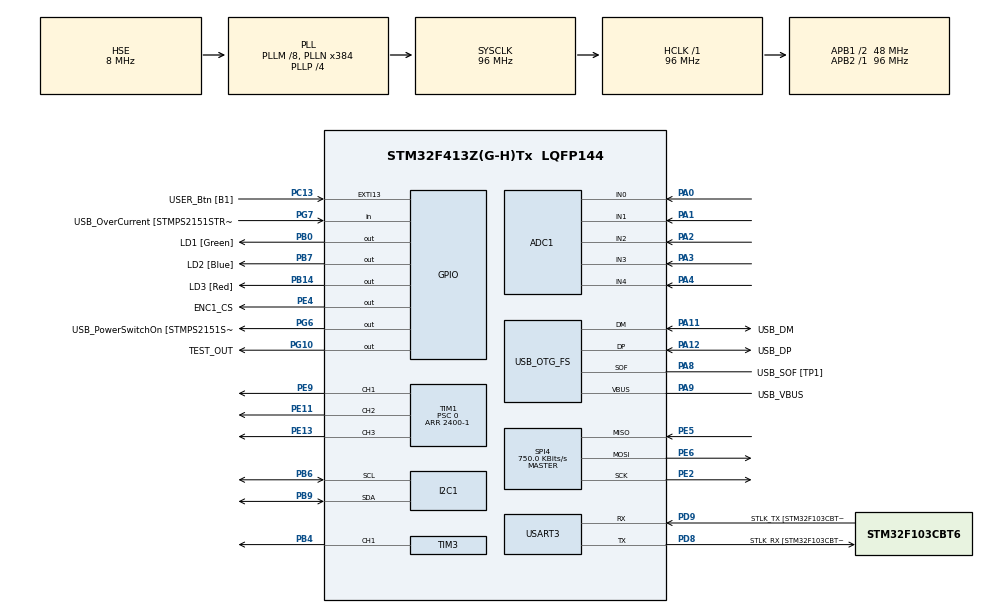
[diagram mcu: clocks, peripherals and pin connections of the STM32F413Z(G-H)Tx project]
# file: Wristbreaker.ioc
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ADC1.Channel-0\#ChannelRegularConversion=ADC_CHANNEL_0
ADC1.Channel-1\#ChannelRegularConversion=ADC_CHANNEL_1
ADC1.Channel-2\#ChannelRegularConversion=ADC_CHANNEL_2
ADC1.Channel-3\#ChannelRegularConversion=ADC_CHANNEL_3
ADC1.Channel-4\#ChannelRegularConversion=ADC_CHANNEL_4
ADC1.ContinuousConvMode=DISABLE
ADC1.DMAContinuousRequests=DISABLE
ADC1.DiscontinuousConvMode=DISABLE
ADC1.EOCSelection=ADC_EOC_SEQ_CONV
ADC1.NbrOfConversion=5
ADC1.NbrOfConversionFlag=1
ADC1.Rank-0\#ChannelRegularConversion=1
ADC1.Rank-1\#ChannelRegularConversion=2
ADC1.Rank-2\#ChannelRegularConversion=3
ADC1.Rank-3\#ChannelRegularConversion=4
ADC1.Rank-4\#ChannelRegularConversion=5
ADC1.SamplingTime-0\#ChannelRegularConversion=ADC_SAMPLETIME_15CYCLES
ADC1.SamplingTime-1\#ChannelRegularConversion=ADC_SAMPLETIME_15CYCLES
ADC1.SamplingTime-2\#ChannelRegularConversion=ADC_SAMPLETIME_15CYCLES
ADC1.SamplingTime-3\#ChannelRegularConversion=ADC_SAMPLETIME_15CYCLES
ADC1.SamplingTime-4\#ChannelRegularConversion=ADC_SAMPLETIME_15CYCLES
ADC1.ScanConvMode=ENABLE
ADC1.master=1
Dma.ADC1.0.Direction=DMA_PERIPH_TO_MEMORY
Dma.ADC1.0.FIFOMode=DMA_FIFOMODE_DISABLE
Dma.ADC1.0.Instance=DMA2_Stream0
Dma.ADC1.0.MemDataAlignment=DMA_MDATAALIGN_HALFWORD
Dma.ADC1.0.MemInc=DMA_MINC_ENABLE
Dma.ADC1.0.Mode=DMA_NORMAL
Dma.ADC1.0.PeriphDataAlignment=DMA_PDATAALIGN_HALFWORD
Dma.ADC1.0.PeriphInc=DMA_PINC_DISABLE
Dma.ADC1.0.Priority=DMA_PRIORITY_LOW
Dma.Request0=ADC1
I2C1.I2C_Mode=I2C_Fast
Mcu.Family=STM32F4
Mcu.Name=STM32F413Z(G-H)Tx
Mcu.Package=LQFP144
Mcu.UserConstants=CUSTOM_HID_EPIN_SIZE,64;CUSTOM_HID_EPOUT_SIZE,64
NVIC.DMA2_Stream0_IRQn=true\:0\:0\:false\:false\:true\:false\:true\:true
NVIC.I2C1_ER_IRQn=true\:1\:0\:true\:false\:true\:true\:true\:true
NVIC.I2C1_EV_IRQn=true\:5\:0\:true\:false\:true\:true\:true\:true
NVIC.OTG_FS_IRQn=true\:0\:0\:true\:false\:true\:false\:true\:true
NVIC.PriorityGroup=NVIC_PRIORITYGROUP_4
NVIC.SPI4_IRQn=true\:6\:0\:true\:false\:true\:true\:true\:true
PA0.Signal=ADCx_IN0
PA1.Signal=ADCx_IN1
PA10.GPIO_Label=USB_ID
PA10.Signal=USB_OTG_FS_ID
PA11.GPIO_Label=USB_DM
PA11.Mode=Device_Only
PA11.Signal=USB_OTG_FS_DM
PA12.GPIO_Label=USB_DP
PA12.Mode=Device_Only
PA12.Signal=USB_OTG_FS_DP
PA13.GPIO_Label=TMS
PA13.Mode=Serial_Wire
PA13.Signal=SYS_JTMS-SWDIO
PA14.GPIO_Label=TCK
PA14.Mode=Serial_Wire
PA14.Signal=SYS_JTCK-SWCLK
PA2.Signal=ADCx_IN2
PA3.Signal=ADCx_IN3
PA4.Signal=ADCx_IN4
PA8.GPIO_Label=USB_SOF [TP1]
PA8.Mode=Activate_SOF_FS
PA8.Signal=USB_OTG_FS_SOF
PA9.GPIO_Label=USB_VBUS
PA9.Mode=Activate_VBUS
PA9.Signal=USB_OTG_FS_VBUS
PB0.GPIO_Label=LD1 [Green]
PB0.Signal=GPIO_Output
PB14.GPIO_Label=LD3 [Red]
PB14.Signal=GPIO_Output
PB3.GPIO_Label=SWO
PB3.Signal=SYS_JTDO-SWO
PB4.Signal=S_TIM3_CH1
PB6.Mode=I2C
PB6.Signal=I2C1_SCL
PB7.GPIO_Label=LD2 [Blue]
PB7.Signal=GPIO_Output
PB9.Mode=I2C
PB9.Signal=I2C1_SDA
PC13.GPIO_Label=USER_Btn [B1]
PC13.Signal=GPXTI13
PC14-OSC32_IN.Signal=RCC_OSC32_IN
PC15-OSC32_OUT.Signal=RCC_OSC32_OUT
PD8.GPIO_Label=STLK_RX [STM32F103CBT6_PA3]
PD8.Mode=Asynchronous
PD8.Signal=USART3_TX
PD9.GPIO_Label=STLK_TX [STM32F103CBT6_PA2]
PD9.Mode=Asynchronous
PD9.Signal=USART3_RX
PE11.Signal=S_TIM1_CH2
PE13.Signal=S_TIM1_CH3
PE2.GPIO_PuPd=GPIO_PULLDOWN
PE2.Mode=Full_Duplex_Master
PE2.Signal=SPI4_SCK
PE4.GPIO_Label=ENC1_CS
PE4.GPIO_Speed=GPIO_SPEED_FREQ_MEDIUM
PE4.PinState=GPIO_PIN_SET
PE4.Signal=GPIO_Output
PE5.Mode=Full_Duplex_Master
PE5.Signal=SPI4_MISO
PE6.Mode=Full_Duplex_Master
PE6.Signal=SPI4_MOSI
PE9.Signal=S_TIM1_CH1
PG10.GPIO_Label=TEST_OUT
PG10.Signal=GPIO_Output
PG6.GPIO_Label=USB_PowerSwitchOn [STMPS2151STR_EN]
PG6.Signal=GPIO_Output
PG7.GPIO_Label=USB_OverCurrent [STMPS2151STR_FAULT]
PG7.Signal=GPIO_Input
PH0\ -\ OSC_IN.GPIO_Label=MCO
PH0\ -\ OSC_IN.Mode=HSE-External-Clock-Source
PH0\ -\ OSC_IN.Signal=RCC_OSC_IN
PH1\ -\ OSC_OUT.Mode=HSE-External-Clock-Source
PH1\ -\ OSC_OUT.Signal=RCC_OSC_OUT
ProjectManager.HeapSize=0x200
ProjectManager.StackSize=0x400
ProjectManager.TargetToolchain=STM32CubeIDE
RCC.48MHZClocksFreq_Value=24000000
RCC.AHBFreq_Value=96000000
RCC.APB1CLKDivider=RCC_HCLK_DIV2
RCC.APB1Freq_Value=48000000
RCC.APB1TimFreq_Value=96000000
RCC.APB2Freq_Value=96000000
RCC.APB2TimFreq_Value=96000000
RCC.CortexFreq_Value=96000000
RCC.HCLKFreq_Value=96000000
RCC.HSE_VALUE=8000000
RCC.HSI_VALUE=16000000
RCC.PLLM=8
RCC.PLLMUL=RCC_PLL_MUL9
RCC.PLLN=384
RCC.PLLP=RCC_PLLP_DIV4
RCC.PLLQ=8
RCC.PRESCALERUSB=RCC_USBCLKSOURCE_PLL_DIV1_5
RCC.SYSCLKFreq_VALUE=96000000
RCC.SYSCLKSource=RCC_SYSCLKSOURCE_PLLCLK
RCC.SYSCLKSourceVirtual=RCC_SYSCLKSOURCE_PLLCLK
RCC.USBFreq_Value=48000000
RCC.VCOOutputFreq_Value=384000000
SH.ADCx_IN0.0=ADC1_IN0,IN0
SH.ADCx_IN1.0=ADC1_IN1,IN1
SH.ADCx_IN2.0=ADC1_IN2,IN2
SH.ADCx_IN3.0=ADC1_IN3,IN3
SH.ADCx_IN4.0=ADC1_IN4,IN4
SH.S_TIM1_CH1.0=TIM1_CH1,PWM Generation1 CH1
SH.S_TIM1_CH2.0=TIM1_CH2,PWM Generation2 CH2
SH.S_TIM1_CH3.0=TIM1_CH3,PWM Generation3 CH3
SH.S_TIM3_CH1.0=TIM3_CH1,PWM Generation1 CH1
SPI4.BaudRatePrescaler=SPI_BAUDRATEPRESCALER_128
SPI4.CLKPhase=SPI_PHASE_2EDGE
SPI4.CalculateBaudRate=750.0 KBits/s
SPI4.DataSize=SPI_DATASIZE_16BIT
SPI4.Direction=SPI_DIRECTION_2LINES
SPI4.Mode=SPI_MODE_MASTER
SPI4.VirtualType=VM_MASTER
TIM1.AutoReloadPreload=TIM_AUTORELOAD_PRELOAD_DISABLE
TIM1.Channel-PWM\ Generation1\ CH1=TIM_CHANNEL_1
TIM1.Channel-PWM\ Generation2\ CH2=TIM_CHANNEL_2
TIM1.Channel-PWM\ Generation3\ CH3=TIM_CHANNEL_3
TIM1.CounterMode=TIM_COUNTERMODE_CENTERALIGNED1
TIM1.OCMode_PWM-PWM\ Generation2\ CH2=TIM_OCMODE_PWM1
TIM1.OCPolarity_3=TIM_OCPOLARITY_HIGH
TIM1.Period=2400-1
TIM1.Prescaler=0
TIM1.Pulse-PWM\ Generation1\ CH1=0
TIM1.Pulse-PWM\ Generation2\ CH2=0
TIM1.Pulse-PWM\ Generation3\ CH3=1000
TIM3.Channel-PWM\ Generation1\ CH1=TIM_CHANNEL_1
TIM3.Prescaler=4
TIM3.Pulse-PWM\ Generation1\ CH1=28800
TIM5.Prescaler=95
USART3.VirtualMode=VM_ASYNC
USB_DEVICE.CLASS_NAME_FS=CUSTOM_HID
USB_DEVICE.CONFIGURATION_STRING_CUSTOMHID_FS=Force feedback yoke
USB_DEVICE.CUSTOM_HID_FS_BINTERVAL=0x01
USB_DEVICE.PID_CUSTOMHID_FS=0x5712
USB_DEVICE.PRODUCT_STRING_CUSTOMHID_FS=Wristbreaker
USB_DEVICE.USBD_CUSTOMHID_OUTREPORT_BUF_SIZE=64
USB_DEVICE.USBD_CUSTOM_HID_REPORT_DESC_SIZE=126
USB_DEVICE.USBD_MAX_NUM_INTERFACES=1
USB_DEVICE.USBD_SELF_POWERED=1
USB_DEVICE.VID=0x0483
USB_DEVICE.VirtualMode=CustomHid
USB_DEVICE.VirtualModeFS=Custom_Hid_FS
USB_OTG_FS.VirtualMode=Device_Only
USB_OTG_FS.battery_charging_enable=DISABLE
VP_TIM1_VS_ClockSourceINT.Mode=Internal
VP_TIM3_VS_ClockSourceINT.Mode=Internal
VP_TIM5_VS_ClockSourceINT.Mode=Internal
VP_USB_DEVICE_VS_USB_DEVICE_CUSTOM_HID_FS.Mode=CUSTOM_HID_FS
board=NUCLEO-F413ZH

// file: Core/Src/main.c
/* USER CODE BEGIN Header */
/**
  ******************************************************************************
  * @file           : main.c
  * @brief          : Wristbreaker main program body
  ******************************************************************************
  * @attention
  *
  * Copyright (c) 2022 STMicroelectronics.
  * All rights reserved.
  *
  * This software is licensed under terms that can be found in the LICENSE file
  * in the root directory of this software component.
  * If no LICENSE file comes with this software, it is provided AS-IS.
  *
  ******************************************************************************
  */
/* USER CODE END Header */
#include "main.h"
#include "usb_device.h"

/* USER CODE BEGIN Includes */
#include "main_loop_api.h"
#include "stdio_redirection.h"
/* USER CODE END Includes */

 ADC_HandleTypeDef hadc1;
DMA_HandleTypeDef hdma_adc1;

I2C_HandleTypeDef hi2c1;

SPI_HandleTypeDef hspi4;

TIM_HandleTypeDef htim1;
TIM_HandleTypeDef htim3;
TIM_HandleTypeDef htim5;

UART_HandleTypeDef huart3;

void SystemClock_Config(void);
static void MX_GPIO_Init(void);
static void MX_USART3_UART_Init(void);
static void MX_DMA_Init(void);
static void MX_ADC1_Init(void);
static void MX_TIM5_Init(void);
static void MX_SPI4_Init(void);
static void MX_TIM1_Init(void);
static void MX_I2C1_Init(void);
static void MX_TIM3_Init(void);

int main(void)
{
  /* USER CODE BEGIN 1 */
    pTimerHtim = &htim5;    /*htim5 used by Timer class*/
    pMotor1Htim = &htim1;   /*pointer to htim object instance used by motor #1*/
    pHadc = &hadc1;         /*pointer to hadc1, which will be used in another module*/
    pPosSensSpi = &hspi4;
    pEncI2c = &hi2c1;       /*pointer to encoder I2C bus**/
    pServoHtim = &htim3;    /*htim3 used by servo PWM*/
  /* USER CODE END 1 */

  /* MCU Configuration--------------------------------------------------------*/

  /* Reset of all peripherals, Initializes the Flash interface and the Systick. */
  HAL_Init();

  /* Configure the system clock */
  SystemClock_Config();

  /* Initialize all configured peripherals */
  MX_GPIO_Init();
  MX_USART3_UART_Init();
  MX_USB_DEVICE_Init();
  MX_DMA_Init();
  MX_ADC1_Init();
  MX_TIM5_Init();
  MX_SPI4_Init();
  MX_TIM1_Init();
  MX_I2C1_Init();
  MX_TIM3_Init();
  /* USER CODE BEGIN 2 */
  redirectStdio(&huart3);     /*redirect stdio to console UART*/
  /* request the first pass of ADC conversions */
  HAL_ADC_Start_DMA(&hadc1, (uint32_t*)adcConvBuffer, hadc1.Init.NbrOfConversion);

  HAL_TIM_PWM_Start(&htim1, TIM_CHANNEL_1);
  HAL_TIM_PWM_Start(&htim1, TIM_CHANNEL_2);
  HAL_TIM_PWM_Start(&htim1, TIM_CHANNEL_3);

  HAL_TIM_PWM_Start(&htim3, TIM_CHANNEL_1);
  /* USER CODE END 2 */

  /* Infinite loop */
  /* USER CODE BEGIN WHILE */
  mainLoop();   /*it never returns fron this function*/

  while (1)
  {
    /*this while loop should never be entered!*/
    /* USER CODE END WHILE */

  }
}

void SystemClock_Config(void)
{
  RCC_OscInitTypeDef RCC_OscInitStruct = {0};
  RCC_ClkInitTypeDef RCC_ClkInitStruct = {0};

  /** Configure the main internal regulator output voltage
  */
  __HAL_RCC_PWR_CLK_ENABLE();
  __HAL_PWR_VOLTAGESCALING_CONFIG(PWR_REGULATOR_VOLTAGE_SCALE1);

  /** Initializes the RCC Oscillators according to the specified parameters
  * in the RCC_OscInitTypeDef structure.
  */
  RCC_OscInitStruct.OscillatorType = RCC_OSCILLATORTYPE_HSE;
  RCC_OscInitStruct.HSEState = RCC_HSE_BYPASS;
  RCC_OscInitStruct.PLL.PLLState = RCC_PLL_ON;
  RCC_OscInitStruct.PLL.PLLSource = RCC_PLLSOURCE_HSE;
  RCC_OscInitStruct.PLL.PLLM = 8;
  RCC_OscInitStruct.PLL.PLLN = 384;
  RCC_OscInitStruct.PLL.PLLP = RCC_PLLP_DIV4;
  RCC_OscInitStruct.PLL.PLLQ = 8;
  RCC_OscInitStruct.PLL.PLLR = 2;
  if (HAL_RCC_OscConfig(&RCC_OscInitStruct) != HAL_OK)
  {
    Error_Handler();
  }

  /** Initializes the CPU, AHB and APB buses clocks
  */
  RCC_ClkInitStruct.ClockType = RCC_CLOCKTYPE_HCLK|RCC_CLOCKTYPE_SYSCLK
                              |RCC_CLOCKTYPE_PCLK1|RCC_CLOCKTYPE_PCLK2;
  RCC_ClkInitStruct.SYSCLKSource = RCC_SYSCLKSOURCE_PLLCLK;
  RCC_ClkInitStruct.AHBCLKDivider = RCC_SYSCLK_DIV1;
  RCC_ClkInitStruct.APB1CLKDivider = RCC_HCLK_DIV2;
  RCC_ClkInitStruct.APB2CLKDivider = RCC_HCLK_DIV1;

  if (HAL_RCC_ClockConfig(&RCC_ClkInitStruct, FLASH_LATENCY_3) != HAL_OK)
  {
    Error_Handler();
  }
}

static void MX_ADC1_Init(void)
{

  ADC_ChannelConfTypeDef sConfig = {0};

  /** Configure the global features of the ADC (Clock, Resolution, Data Alignment and number of conversion)
  */
  hadc1.Instance = ADC1;
  hadc1.Init.ClockPrescaler = ADC_CLOCK_SYNC_PCLK_DIV4;
  hadc1.Init.Resolution = ADC_RESOLUTION_12B;
  hadc1.Init.ScanConvMode = ENABLE;
  hadc1.Init.ContinuousConvMode = DISABLE;
  hadc1.Init.DiscontinuousConvMode = DISABLE;
  hadc1.Init.ExternalTrigConvEdge = ADC_EXTERNALTRIGCONVEDGE_NONE;
  hadc1.Init.ExternalTrigConv = ADC_SOFTWARE_START;
  hadc1.Init.DataAlign = ADC_DATAALIGN_RIGHT;
  hadc1.Init.NbrOfConversion = 5;
  hadc1.Init.DMAContinuousRequests = DISABLE;
  hadc1.Init.EOCSelection = ADC_EOC_SEQ_CONV;
  if (HAL_ADC_Init(&hadc1) != HAL_OK)
  {
    Error_Handler();
  }

  /** Configure for the selected ADC regular channel its corresponding rank in the sequencer and its sample time.
  */
  sConfig.Channel = ADC_CHANNEL_0;
  sConfig.Rank = 1;
  sConfig.SamplingTime = ADC_SAMPLETIME_15CYCLES;
  if (HAL_ADC_ConfigChannel(&hadc1, &sConfig) != HAL_OK)
  {
    Error_Handler();
  }

  /** Configure for the selected ADC regular channel its corresponding rank in the sequencer and its sample time.
  */
  sConfig.Channel = ADC_CHANNEL_1;
  sConfig.Rank = 2;
  if (HAL_ADC_ConfigChannel(&hadc1, &sConfig) != HAL_OK)
  {
    Error_Handler();
  }

  /** Configure for the selected ADC regular channel its corresponding rank in the sequencer and its sample time.
  */
  sConfig.Channel = ADC_CHANNEL_2;
  sConfig.Rank = 3;
  if (HAL_ADC_ConfigChannel(&hadc1, &sConfig) != HAL_OK)
  {
    Error_Handler();
  }

  /** Configure for the selected ADC regular channel its corresponding rank in the sequencer and its sample time.
  */
  sConfig.Channel = ADC_CHANNEL_3;
  sConfig.Rank = 4;
  if (HAL_ADC_ConfigChannel(&hadc1, &sConfig) != HAL_OK)
  {
    Error_Handler();
  }

  /** Configure for the selected ADC regular channel its corresponding rank in the sequencer and its sample time.
  */
  sConfig.Channel = ADC_CHANNEL_4;
  sConfig.Rank = 5;
  if (HAL_ADC_ConfigChannel(&hadc1, &sConfig) != HAL_OK)
  {
    Error_Handler();
  }

}

static void MX_I2C1_Init(void)
{

  hi2c1.Instance = I2C1;
  hi2c1.Init.ClockSpeed = 400000;
  hi2c1.Init.DutyCycle = I2C_DUTYCYCLE_2;
  hi2c1.Init.OwnAddress1 = 0;
  hi2c1.Init.AddressingMode = I2C_ADDRESSINGMODE_7BIT;
  hi2c1.Init.DualAddressMode = I2C_DUALADDRESS_DISABLE;
  hi2c1.Init.OwnAddress2 = 0;
  hi2c1.Init.GeneralCallMode = I2C_GENERALCALL_DISABLE;
  hi2c1.Init.NoStretchMode = I2C_NOSTRETCH_DISABLE;
  if (HAL_I2C_Init(&hi2c1) != HAL_OK)
  {
    Error_Handler();
  }

}

static void MX_SPI4_Init(void)
{

  /* SPI4 parameter configuration*/
  hspi4.Instance = SPI4;
  hspi4.Init.Mode = SPI_MODE_MASTER;
  hspi4.Init.Direction = SPI_DIRECTION_2LINES;
  hspi4.Init.DataSize = SPI_DATASIZE_16BIT;
  hspi4.Init.CLKPolarity = SPI_POLARITY_LOW;
  hspi4.Init.CLKPhase = SPI_PHASE_2EDGE;
  hspi4.Init.NSS = SPI_NSS_SOFT;
  hspi4.Init.BaudRatePrescaler = SPI_BAUDRATEPRESCALER_128;
  hspi4.Init.FirstBit = SPI_FIRSTBIT_MSB;
  hspi4.Init.TIMode = SPI_TIMODE_DISABLE;
  hspi4.Init.CRCCalculation = SPI_CRCCALCULATION_DISABLE;
  hspi4.Init.CRCPolynomial = 10;
  if (HAL_SPI_Init(&hspi4) != HAL_OK)
  {
    Error_Handler();
  }

}

static void MX_TIM1_Init(void)
{

  TIM_ClockConfigTypeDef sClockSourceConfig = {0};
  TIM_MasterConfigTypeDef sMasterConfig = {0};
  TIM_OC_InitTypeDef sConfigOC = {0};
  TIM_BreakDeadTimeConfigTypeDef sBreakDeadTimeConfig = {0};

  htim1.Instance = TIM1;
  htim1.Init.Prescaler = 0;
  htim1.Init.CounterMode = TIM_COUNTERMODE_CENTERALIGNED1;
  htim1.Init.Period = 2400-1;
  htim1.Init.ClockDivision = TIM_CLOCKDIVISION_DIV1;
  htim1.Init.RepetitionCounter = 0;
  htim1.Init.AutoReloadPreload = TIM_AUTORELOAD_PRELOAD_DISABLE;
  if (HAL_TIM_Base_Init(&htim1) != HAL_OK)
  {
    Error_Handler();
  }
  sClockSourceConfig.ClockSource = TIM_CLOCKSOURCE_INTERNAL;
  if (HAL_TIM_ConfigClockSource(&htim1, &sClockSourceConfig) != HAL_OK)
  {
    Error_Handler();
  }
  if (HAL_TIM_PWM_Init(&htim1) != HAL_OK)
  {
    Error_Handler();
  }
  sMasterConfig.MasterOutputTrigger = TIM_TRGO_RESET;
  sMasterConfig.MasterSlaveMode = TIM_MASTERSLAVEMODE_DISABLE;
  if (HAL_TIMEx_MasterConfigSynchronization(&htim1, &sMasterConfig) != HAL_OK)
  {
    Error_Handler();
  }
  sConfigOC.OCMode = TIM_OCMODE_PWM1;
  sConfigOC.Pulse = 0;
  sConfigOC.OCPolarity = TIM_OCPOLARITY_HIGH;
  sConfigOC.OCNPolarity = TIM_OCNPOLARITY_HIGH;
  sConfigOC.OCFastMode = TIM_OCFAST_DISABLE;
  sConfigOC.OCIdleState = TIM_OCIDLESTATE_RESET;
  sConfigOC.OCNIdleState = TIM_OCNIDLESTATE_RESET;
  if (HAL_TIM_PWM_ConfigChannel(&htim1, &sConfigOC, TIM_CHANNEL_1) != HAL_OK)
  {
    Error_Handler();
  }
  if (HAL_TIM_PWM_ConfigChannel(&htim1, &sConfigOC, TIM_CHANNEL_2) != HAL_OK)
  {
    Error_Handler();
  }
  sConfigOC.Pulse = 1000;
  if (HAL_TIM_PWM_ConfigChannel(&htim1, &sConfigOC, TIM_CHANNEL_3) != HAL_OK)
  {
    Error_Handler();
  }
  sBreakDeadTimeConfig.OffStateRunMode = TIM_OSSR_DISABLE;
  sBreakDeadTimeConfig.OffStateIDLEMode = TIM_OSSI_DISABLE;
  sBreakDeadTimeConfig.LockLevel = TIM_LOCKLEVEL_OFF;
  sBreakDeadTimeConfig.DeadTime = 0;
  sBreakDeadTimeConfig.BreakState = TIM_BREAK_DISABLE;
  sBreakDeadTimeConfig.BreakPolarity = TIM_BREAKPOLARITY_HIGH;
  sBreakDeadTimeConfig.AutomaticOutput = TIM_AUTOMATICOUTPUT_DISABLE;
  if (HAL_TIMEx_ConfigBreakDeadTime(&htim1, &sBreakDeadTimeConfig) != HAL_OK)
  {
    Error_Handler();
  }
  HAL_TIM_MspPostInit(&htim1);

}

static void MX_TIM3_Init(void)
{

  TIM_ClockConfigTypeDef sClockSourceConfig = {0};
  TIM_MasterConfigTypeDef sMasterConfig = {0};
  TIM_OC_InitTypeDef sConfigOC = {0};

  htim3.Instance = TIM3;
  htim3.Init.Prescaler = 4;
  htim3.Init.CounterMode = TIM_COUNTERMODE_UP;
  htim3.Init.Period = 65535;
  htim3.Init.ClockDivision = TIM_CLOCKDIVISION_DIV1;
  htim3.Init.AutoReloadPreload = TIM_AUTORELOAD_PRELOAD_DISABLE;
  if (HAL_TIM_Base_Init(&htim3) != HAL_OK)
  {
    Error_Handler();
  }
  sClockSourceConfig.ClockSource = TIM_CLOCKSOURCE_INTERNAL;
  if (HAL_TIM_ConfigClockSource(&htim3, &sClockSourceConfig) != HAL_OK)
  {
    Error_Handler();
  }
  if (HAL_TIM_PWM_Init(&htim3) != HAL_OK)
  {
    Error_Handler();
  }
  sMasterConfig.MasterOutputTrigger = TIM_TRGO_RESET;
  sMasterConfig.MasterSlaveMode = TIM_MASTERSLAVEMODE_DISABLE;
  if (HAL_TIMEx_MasterConfigSynchronization(&htim3, &sMasterConfig) != HAL_OK)
  {
    Error_Handler();
  }
  sConfigOC.OCMode = TIM_OCMODE_PWM1;
  sConfigOC.Pulse = 28800;
  sConfigOC.OCPolarity = TIM_OCPOLARITY_HIGH;
  sConfigOC.OCFastMode = TIM_OCFAST_DISABLE;
  if (HAL_TIM_PWM_ConfigChannel(&htim3, &sConfigOC, TIM_CHANNEL_1) != HAL_OK)
  {
    Error_Handler();
  }
  HAL_TIM_MspPostInit(&htim3);

}

static void MX_TIM5_Init(void)
{

  TIM_ClockConfigTypeDef sClockSourceConfig = {0};
  TIM_MasterConfigTypeDef sMasterConfig = {0};

  htim5.Instance = TIM5;
  htim5.Init.Prescaler = 95;
  htim5.Init.CounterMode = TIM_COUNTERMODE_UP;
  htim5.Init.Period = 4294967295;
  htim5.Init.ClockDivision = TIM_CLOCKDIVISION_DIV1;
  htim5.Init.AutoReloadPreload = TIM_AUTORELOAD_PRELOAD_DISABLE;
  if (HAL_TIM_Base_Init(&htim5) != HAL_OK)
  {
    Error_Handler();
  }
  sClockSourceConfig.ClockSource = TIM_CLOCKSOURCE_INTERNAL;
  if (HAL_TIM_ConfigClockSource(&htim5, &sClockSourceConfig) != HAL_OK)
  {
    Error_Handler();
  }
  sMasterConfig.MasterOutputTrigger = TIM_TRGO_RESET;
  sMasterConfig.MasterSlaveMode = TIM_MASTERSLAVEMODE_DISABLE;
  if (HAL_TIMEx_MasterConfigSynchronization(&htim5, &sMasterConfig) != HAL_OK)
  {
    Error_Handler();
  }

}

static void MX_USART3_UART_Init(void)
{

  huart3.Instance = USART3;
  huart3.Init.BaudRate = 115200;
  huart3.Init.WordLength = UART_WORDLENGTH_8B;
  huart3.Init.StopBits = UART_STOPBITS_1;
  huart3.Init.Parity = UART_PARITY_NONE;
  huart3.Init.Mode = UART_MODE_TX_RX;
  huart3.Init.HwFlowCtl = UART_HWCONTROL_NONE;
  huart3.Init.OverSampling = UART_OVERSAMPLING_16;
  if (HAL_UART_Init(&huart3) != HAL_OK)
  {
    Error_Handler();
  }

}

static void MX_DMA_Init(void)
{

  /* DMA controller clock enable */
  __HAL_RCC_DMA2_CLK_ENABLE();

  /* DMA interrupt init */
  /* DMA2_Stream0_IRQn interrupt configuration */
  HAL_NVIC_SetPriority(DMA2_Stream0_IRQn, 0, 0);
  HAL_NVIC_EnableIRQ(DMA2_Stream0_IRQn);

}

static void MX_GPIO_Init(void)
{
  GPIO_InitTypeDef GPIO_InitStruct = {0};

  /* GPIO Ports Clock Enable */
  __HAL_RCC_GPIOE_CLK_ENABLE();
  __HAL_RCC_GPIOC_CLK_ENABLE();
  __HAL_RCC_GPIOH_CLK_ENABLE();
  __HAL_RCC_GPIOA_CLK_ENABLE();
  __HAL_RCC_GPIOB_CLK_ENABLE();
  __HAL_RCC_GPIOD_CLK_ENABLE();
  __HAL_RCC_GPIOG_CLK_ENABLE();

  /*Configure GPIO pin Output Level */
  HAL_GPIO_WritePin(ENC1_CS_GPIO_Port, ENC1_CS_Pin, GPIO_PIN_SET);

  /*Configure GPIO pin Output Level */
  HAL_GPIO_WritePin(GPIOB, LD1_Pin|LD3_Pin|LD2_Pin, GPIO_PIN_RESET);

  /*Configure GPIO pin Output Level */
  HAL_GPIO_WritePin(GPIOG, USB_PowerSwitchOn_Pin|TEST_OUT_Pin, GPIO_PIN_RESET);

  /*Configure GPIO pin : ENC1_CS_Pin */
  GPIO_InitStruct.Pin = ENC1_CS_Pin;
  GPIO_InitStruct.Mode = GPIO_MODE_OUTPUT_PP;
  GPIO_InitStruct.Pull = GPIO_NOPULL;
  GPIO_InitStruct.Speed = GPIO_SPEED_FREQ_MEDIUM;
  HAL_GPIO_Init(ENC1_CS_GPIO_Port, &GPIO_InitStruct);

  /*Configure GPIO pin : USER_Btn_Pin */
  GPIO_InitStruct.Pin = USER_Btn_Pin;
  GPIO_InitStruct.Mode = GPIO_MODE_IT_RISING;
  GPIO_InitStruct.Pull = GPIO_NOPULL;
  HAL_GPIO_Init(USER_Btn_GPIO_Port, &GPIO_InitStruct);

  /*Configure GPIO pins : LD1_Pin LD3_Pin LD2_Pin */
  GPIO_InitStruct.Pin = LD1_Pin|LD3_Pin|LD2_Pin;
  GPIO_InitStruct.Mode = GPIO_MODE_OUTPUT_PP;
  GPIO_InitStruct.Pull = GPIO_NOPULL;
  GPIO_InitStruct.Speed = GPIO_SPEED_FREQ_LOW;
  HAL_GPIO_Init(GPIOB, &GPIO_InitStruct);

  /*Configure GPIO pins : USB_PowerSwitchOn_Pin TEST_OUT_Pin */
  GPIO_InitStruct.Pin = USB_PowerSwitchOn_Pin|TEST_OUT_Pin;
  GPIO_InitStruct.Mode = GPIO_MODE_OUTPUT_PP;
  GPIO_InitStruct.Pull = GPIO_NOPULL;
  GPIO_InitStruct.Speed = GPIO_SPEED_FREQ_LOW;
  HAL_GPIO_Init(GPIOG, &GPIO_InitStruct);

  /*Configure GPIO pin : USB_OverCurrent_Pin */
  GPIO_InitStruct.Pin = USB_OverCurrent_Pin;
  GPIO_InitStruct.Mode = GPIO_MODE_INPUT;
  GPIO_InitStruct.Pull = GPIO_NOPULL;
  HAL_GPIO_Init(USB_OverCurrent_GPIO_Port, &GPIO_InitStruct);

}

void Error_Handler(void)
{
  __disable_irq();
  while (1)
  {
  }
}
